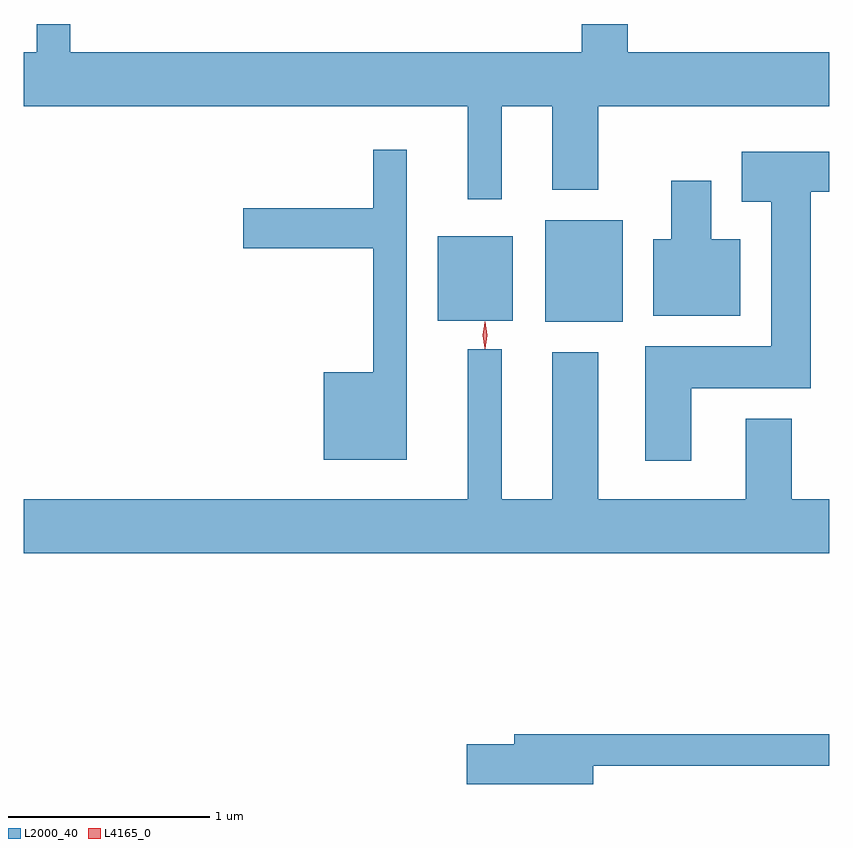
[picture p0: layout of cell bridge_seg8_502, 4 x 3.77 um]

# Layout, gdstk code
import gdstk
lib = gdstk.Library(unit=1e-6, precision=1e-09)
def R(c, l, rs):  # rectangles x0, y0, x1, y1
    for r in rs: c.add(gdstk.rectangle(r[:2], r[2:], *l))
def P(c, l, *ps):  # polygons
    for p in ps: c.add(gdstk.Polygon(p, *l))
L2000_40 = (2000, 40)
L4165_0 = (4165, 0)

bridge_seg8_502 = lib.new_cell('bridge_seg8_502')
R(bridge_seg8_502, L2000_40, [(322.956,1870.866,323.339,1871.369), (322.421,1870.871,322.794,1871.289)])
P(bridge_seg8_502, L2000_40, [(322.739,1871.936),(322.991,1871.936),(322.991,1871.521),(323.219,1871.521),(323.219,1871.936),(324.366,1871.936),(324.366,1872.204),(323.364,1872.204),(323.364,1872.343),(323.136,1872.343),(323.136,1872.204),(320.599,1872.204),(320.599,1872.343),(320.431,1872.343),(320.431,1872.204),(320.366,1872.204),(320.366,1871.936),(322.571,1871.936),(322.571,1871.473),(322.739,1871.473)],
  [(322.269,1871.718),(322.101,1871.718),(322.101,1871.429),(321.456,1871.429),(321.456,1871.231),(322.101,1871.231),(322.101,1870.614),(321.856,1870.614),(321.856,1870.181),(322.269,1870.181)],
  [(323.679,1870.536),(324.274,1870.536),(324.274,1871.511),(324.366,1871.511),(324.366,1871.709),(323.931,1871.709),(323.931,1871.461),(324.076,1871.461),(324.076,1870.744),(323.451,1870.744),(323.451,1870.176),(323.679,1870.176)],
  [(323.924,1871.274),(323.779,1871.274),(323.779,1871.564),(323.581,1871.564),(323.581,1871.274),(323.491,1871.274),(323.491,1870.896),(323.924,1870.896)],
  [(324.366,1869.984),(324.179,1869.984),(324.179,1870.384),(323.951,1870.384),(323.951,1869.984),(323.219,1869.984),(323.219,1870.714),(322.991,1870.714),(322.991,1869.984),(322.739,1869.984),(322.739,1870.728),(322.571,1870.728),(322.571,1869.984),(320.366,1869.984),(320.366,1869.716),(324.366,1869.716)],
  [(323.194,1868.661),(324.366,1868.661),(324.366,1868.819),(322.801,1868.819),(322.801,1868.769),(322.566,1868.769),(322.566,1868.571),(323.194,1868.571)])
P(bridge_seg8_502, L4165_0, [(322.656,1870.73),(322.647,1870.798),(322.656,1870.866),(322.657,1870.866),(322.657,1870.866),(322.667,1870.798),(322.657,1870.73),(322.657,1870.73)],
  [(322.656,1870.733),(322.656,1870.733),(322.646,1870.798),(322.656,1870.861),(322.656,1870.862),(322.657,1870.861),(322.666,1870.798),(322.657,1870.733)])

lib.write_gds('bridge_seg8_502.gds')
